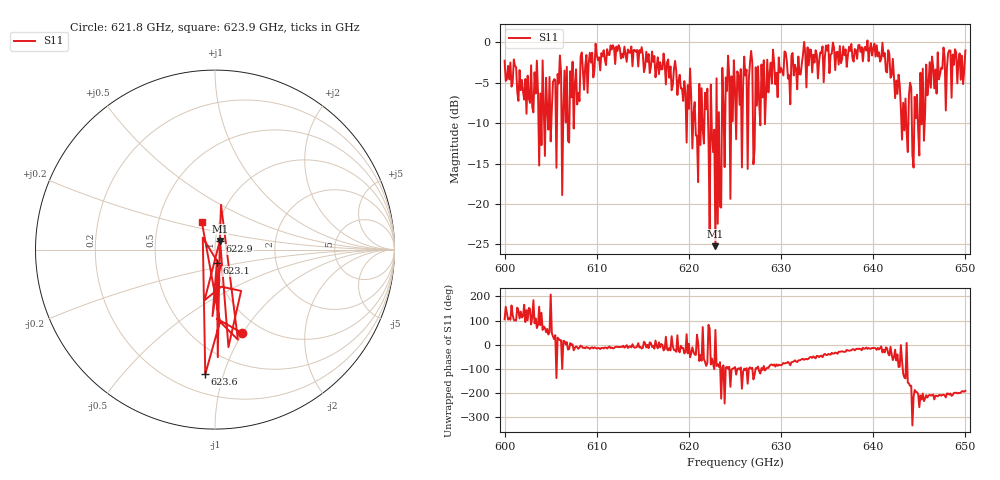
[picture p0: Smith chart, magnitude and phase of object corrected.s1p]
!Created with skrf (http://scikit-rf.org).
# GHz S MA R 50.0
!freq magS11 angS11
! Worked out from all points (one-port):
!   401 points, 600 GHz to 650 GHz, reference 50 ohm
!   lowest |S11| = -25.2 dB at 622.9 GHz (marker M1), VSWR 1.12, Z = 52.5 + j5.05 ohm
!   |S11| at or under -10 dB: 606.8452 GHz to 607.0338 GHz (188.5 MHz wide, 0.0311 % of centre); 620.7039 GHz to 621.0749 GHz (371 MHz wide, 0.0597 % of centre); 622.4732 GHz to 622.9666 GHz (493.3 MHz wide, 0.0792 % of centre) (the widest 3 of 33)
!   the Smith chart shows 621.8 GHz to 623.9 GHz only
!   S11 on the Smith chart (normalised r, x): 621.8 GHz: 0.81, -0.99; 622.9 GHz: 1.05, +0.10; 623.1 GHz: 1.01, -0.15; 623.6 GHz: 0.32, -0.87; 623.9 GHz: 0.83, +0.26
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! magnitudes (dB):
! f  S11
! 600 GHz  -2.3
! 603.4 GHz  -6.3
! 604 GHz  -12.7
! 606.2 GHz  -18.9
! 608.5 GHz  -3.5
! 612.5 GHz  -0.7
! 618.8 GHz  -6.5
! 620.4 GHz  -13.1
! 620.8 GHz  -11.5
! 621.8 GHz  -6.2
! 622.9 GHz  -25.2
! 623.1 GHz  -22.4
! 623.5 GHz  -20.4
! 623.6 GHz  -3.1
! 623.9 GHz  -15.4
! 625 GHz  -5.7
! 626.8 GHz  -1.0
! 627.2 GHz  -3.1
! 629 GHz  -5.1
! 631.2 GHz  -1.3
! 637.5 GHz  -1.1
! 641 GHz  0.0
! 641.9 GHz  -4.4
! 643.4 GHz  -10.9
! 643.8 GHz  -13.6
! 644.5 GHz  -6.7
! 646.2 GHz  -5.6
! 650 GHz  -1.0
